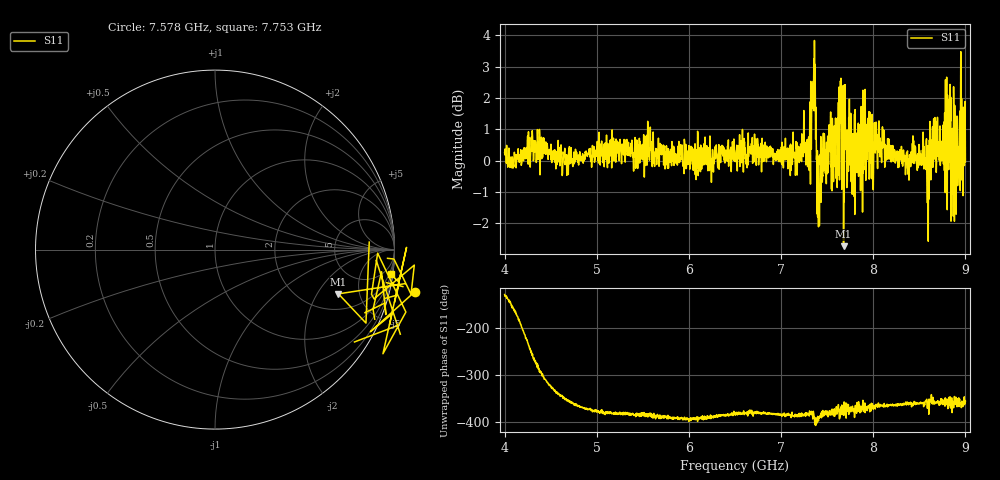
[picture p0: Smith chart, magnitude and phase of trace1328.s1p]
! Created with skrf 1.8.0 (http://scikit-rf.org).
# Hz S RI R 50.0
!freq ReS11 ImS11
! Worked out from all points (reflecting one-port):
!   1601 points, 4 GHz to 9 GHz, reference 50 ohm
!   lowest |S11| = -2.7 dB at 7.678 GHz (marker M1), VSWR 6.42, Z = 147 - j156 ohm
!   phase of S11 starts at -128 deg and turns -228 deg over the sweep
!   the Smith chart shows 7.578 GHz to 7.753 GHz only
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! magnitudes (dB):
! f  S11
! 4 GHz  0.3
! 4.625 GHz  -0.5
! 5.25 GHz  0.6
! 5.875 GHz  -0.1
! 6.5 GHz  0.0
! 7.125 GHz  0.4
! 7.294 GHz  0.2
! 7.347 GHz  2.4
! 7.369 GHz  3.1
! 7.397 GHz  -1.8
! 7.409 GHz  -0.9
! 7.45 GHz  -0.5
! 7.591 GHz  1.4
! 7.647 GHz  1.9
! 7.678 GHz  -2.7
! 7.75 GHz  0.4
! 7.928 GHz  0.3
! 7.981 GHz  -0.6
! 8.038 GHz  0.4
! 8.375 GHz  -0.2
! 8.438 GHz  0.6
! 8.609 GHz  0.7
! 8.656 GHz  1.3
! 8.766 GHz  1.2
! 8.816 GHz  0.2
! 8.869 GHz  -1.8
! 8.956 GHz  -0.6
! 9 GHz  0.0
